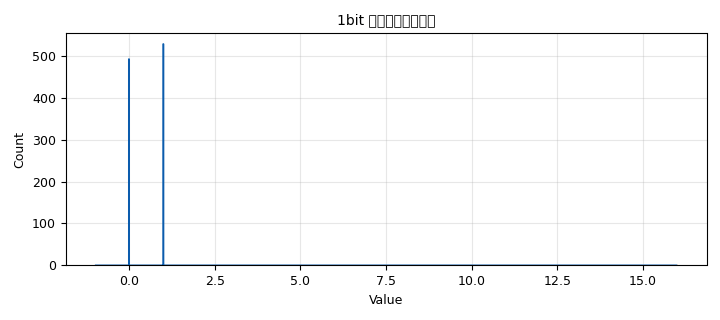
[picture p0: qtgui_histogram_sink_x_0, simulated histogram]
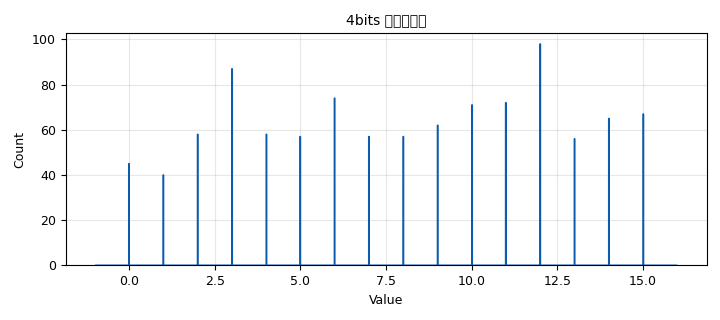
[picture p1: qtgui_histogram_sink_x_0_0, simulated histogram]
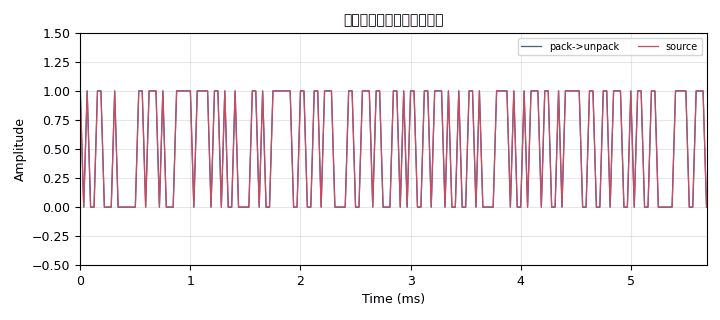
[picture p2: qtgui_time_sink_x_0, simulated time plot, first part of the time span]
options:
  parameters:
    author: btfz
    generate_options: qt_gui
    id: Fundamentals
    output_language: python
    title: Not titled yet
  states: {}

blocks:
- name: samp_rate
  id: variable
  parameters:
    value: '32000'
  states: {}
- name: analog_random_source_x_0
  id: analog_random_source_x
  parameters:
    max: '2'
    min: '0'
    num_samps: '1000'
    repeat: 'True'
    type: byte
  states: {}
- name: blocks_char_to_float_0
  id: blocks_char_to_float
  parameters:
    scale: '1'
  states: {}
- name: blocks_char_to_float_0_0
  id: blocks_char_to_float
  parameters:
    scale: '1'
  states: {}
- name: blocks_char_to_float_0_0_0
  id: blocks_char_to_float
  parameters:
    scale: '1'
  states: {}
- name: blocks_pack_k_bits_bb_0
  id: blocks_pack_k_bits_bb
  parameters:
    k: '4'
  states: {}
- name: blocks_throttle_0
  id: blocks_throttle
  parameters:
    samples_per_second: samp_rate
    type: byte
  states: {}
- name: blocks_unpack_k_bits_bb_0
  id: blocks_unpack_k_bits_bb
  parameters:
    k: '4'
  states: {}
- name: qtgui_histogram_sink_x_0
  id: qtgui_histogram_sink_x
  parameters:
    bins: '1024'
    gui_hint: 0,1,1,1
    name: 1bit 打包再解包后数据
    size: '1024'
    type: float
    xmax: '16'
    xmin: '-1'
  states: {}
- name: qtgui_histogram_sink_x_0_0
  id: qtgui_histogram_sink_x
  parameters:
    bins: '1024'
    gui_hint: 0,0,1,1
    name: 4bits 打包后数据
    size: '1024'
    type: float
    xmax: '16'
    xmin: '-1'
  states: {}
- name: qtgui_time_sink_x_0
  id: qtgui_time_sink_x
  parameters:
    gui_hint: 1,0,1,2
    label1: pack->unpack
    label2: source
    name: '"打包再解包与原始数据比较"'
    nconnections: '2'
    size: '1024'
    srate: samp_rate
    type: float
    ymax: '1.5'
    ymin: '-0.5'
  states: {}

connections:
- [analog_random_source_x_0, '0', blocks_char_to_float_0_0_0, '0']
- [analog_random_source_x_0, '0', blocks_throttle_0, '0']
- [blocks_char_to_float_0, '0', qtgui_histogram_sink_x_0, '0']
- [blocks_char_to_float_0, '0', qtgui_time_sink_x_0, '0']
- [blocks_char_to_float_0_0, '0', qtgui_histogram_sink_x_0_0, '0']
- [blocks_char_to_float_0_0_0, '0', qtgui_time_sink_x_0, '1']
- [blocks_pack_k_bits_bb_0, '0', blocks_char_to_float_0_0, '0']
- [blocks_pack_k_bits_bb_0, '0', blocks_unpack_k_bits_bb_0, '0']
- [blocks_throttle_0, '0', blocks_pack_k_bits_bb_0, '0']
- [blocks_unpack_k_bits_bb_0, '0', blocks_char_to_float_0, '0']

metadata:
  file_format: 1
  grc_version: 3.10.12.0
